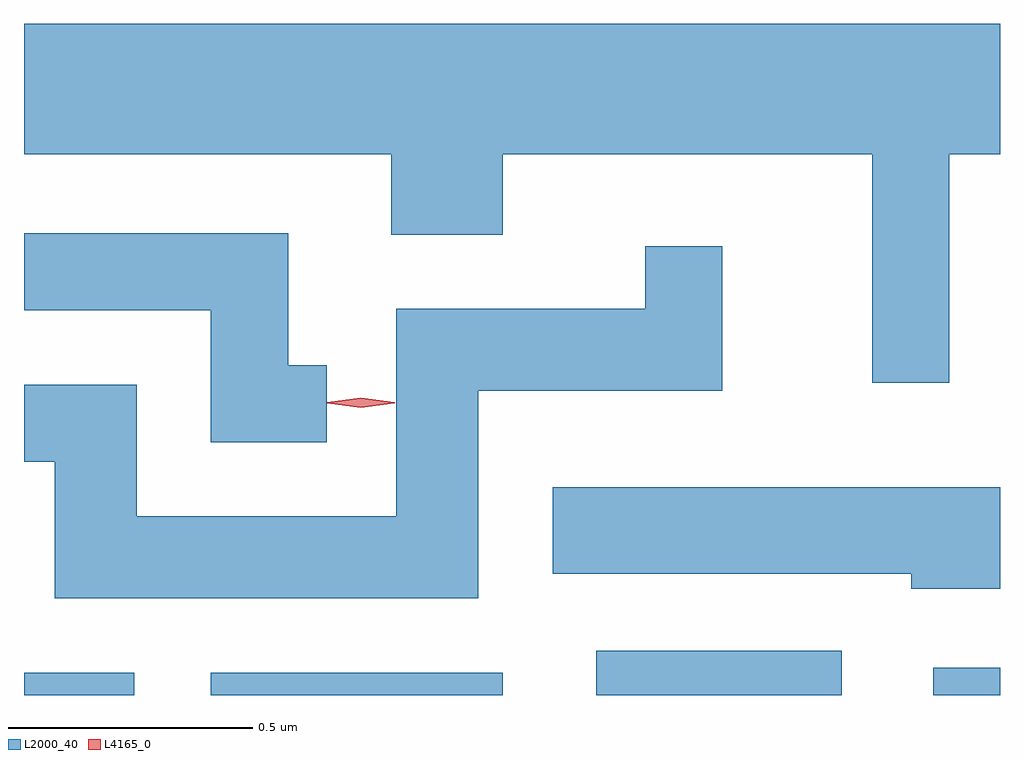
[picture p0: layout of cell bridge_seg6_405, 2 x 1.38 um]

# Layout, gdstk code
import gdstk
lib = gdstk.Library(unit=1e-6, precision=1e-09)
def R(c, l, rs):  # rectangles x0, y0, x1, y1
    for r in rs: c.add(gdstk.rectangle(r[:2], r[2:], *l))
def P(c, l, *ps):  # polygons
    for p in ps: c.add(gdstk.Polygon(p, *l))
L2000_40 = (2000, 40)
L4165_0 = (4165, 0)

bridge_seg6_405 = lib.new_cell('bridge_seg6_405')
R(bridge_seg6_405, L2000_40, [(970.468,1659.927,970.694,1659.974), (970.851,1659.927,971.449,1659.974), (971.641,1659.927,972.144,1660.019), (972.331,1659.927,972.468,1659.984)])
P(bridge_seg6_405, L2000_40, [(972.364,1661.036),(972.468,1661.036),(972.468,1661.304),(970.468,1661.304),(970.468,1661.036),(971.221,1661.036),(971.221,1660.871),(971.449,1660.871),(971.449,1661.036),(972.206,1661.036),(972.206,1660.568),(972.364,1660.568)],
  [(971.088,1660.604),(971.009,1660.604),(971.009,1660.874),(970.468,1660.874),(970.468,1660.716),(970.851,1660.716),(970.851,1660.446),(971.088,1660.446)],
  [(971.399,1660.551),(971.899,1660.551),(971.899,1660.848),(971.741,1660.848),(971.741,1660.719),(971.231,1660.719),(971.231,1660.294),(970.699,1660.294),(970.699,1660.564),(970.468,1660.564),(970.468,1660.406),(970.531,1660.406),(970.531,1660.126),(971.399,1660.126)],
  [(972.468,1660.354),(971.551,1660.354),(971.551,1660.176),(972.286,1660.176),(972.286,1660.146),(972.468,1660.146)])
P(bridge_seg6_405, L4165_0, [(971.158,1660.517),(971.089,1660.526),(971.089,1660.527),(971.089,1660.528),(971.158,1660.537),(971.228,1660.528),(971.228,1660.527),(971.228,1660.526)])

lib.write_gds('bridge_seg6_405.gds')
